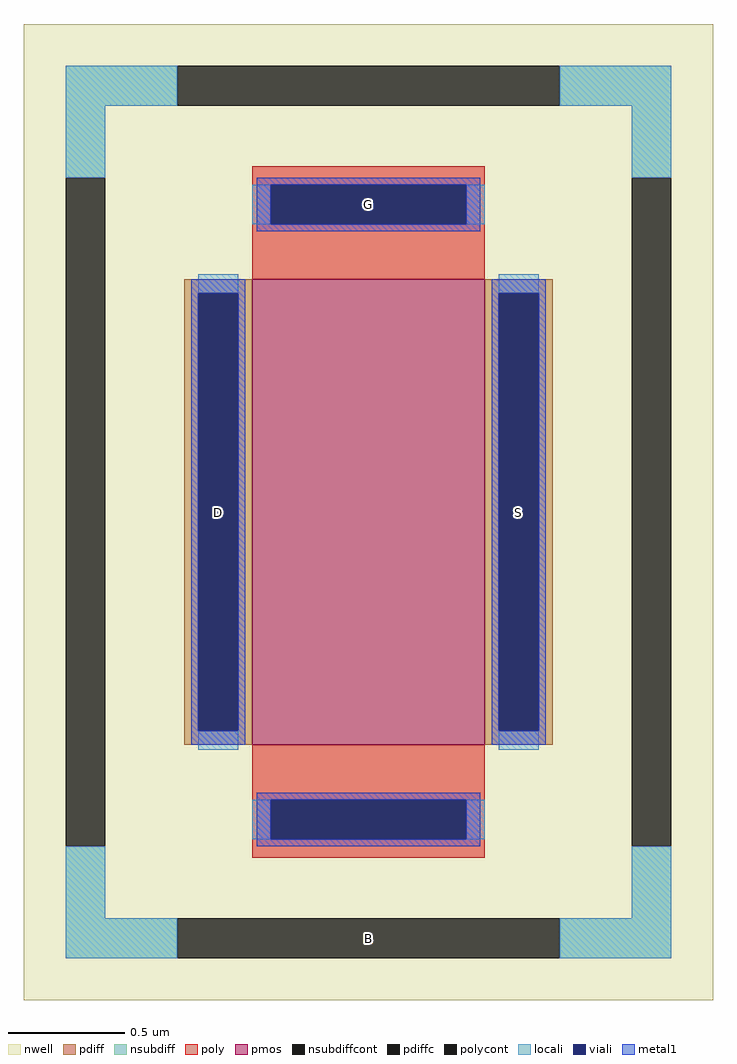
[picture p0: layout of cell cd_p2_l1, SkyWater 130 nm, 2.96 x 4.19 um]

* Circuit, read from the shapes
.subckt cd_p2_l1 B D S G
XM1 S G D B sky130_fd_pr__pfet_01v8 w=2 l=1
.ends

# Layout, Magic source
magic
tech sky130A
magscale 1 2
<< nwell >>
rect -296 -419 296 419
<< pmos >>
rect -100 -200 100 200
<< pdiff >>
rect -158 188 -100 200
rect -158 -188 -146 188
rect -112 -188 -100 188
rect -158 -200 -100 -188
rect 100 188 158 200
rect 100 -188 112 188
rect 146 -188 158 188
rect 100 -200 158 -188
<< pdiffc >>
rect -146 -188 -112 188
rect 112 -188 146 188
<< nsubdiff >>
rect -260 349 -164 383
rect 164 349 260 383
rect -260 287 -226 349
rect 226 287 260 349
rect -260 -349 -226 -287
rect 226 -349 260 -287
rect -260 -383 -164 -349
rect 164 -383 260 -349
<< nsubdiffcont >>
rect -164 349 164 383
rect -260 -287 -226 287
rect 226 -287 260 287
rect -164 -383 164 -349
<< poly >>
rect -100 281 100 297
rect -100 247 -84 281
rect 84 247 100 281
rect -100 200 100 247
rect -100 -247 100 -200
rect -100 -281 -84 -247
rect 84 -281 100 -247
rect -100 -297 100 -281
<< polycont >>
rect -84 247 84 281
rect -84 -281 84 -247
<< locali >>
rect -260 349 -164 383
rect 164 349 260 383
rect -260 287 -226 349
rect 226 287 260 349
rect -100 247 -84 281
rect 84 247 100 281
rect -146 188 -112 204
rect -146 -204 -112 -188
rect 112 188 146 204
rect 112 -204 146 -188
rect -100 -281 -84 -247
rect 84 -281 100 -247
rect -260 -349 -226 -287
rect 226 -349 260 -287
rect -260 -383 -164 -349
rect 164 -383 260 -349
<< viali >>
rect -84 247 84 281
rect -146 -188 -112 188
rect 112 -188 146 188
rect -84 -281 84 -247
<< metal1 >>
rect -96 281 96 287
rect -96 247 -84 281
rect 84 247 96 281
rect -96 241 96 247
rect -152 188 -106 200
rect -152 -188 -146 188
rect -112 -188 -106 188
rect -152 -200 -106 -188
rect 106 188 152 200
rect 106 -188 112 188
rect 146 -188 152 188
rect 106 -200 152 -188
rect -96 -247 96 -241
rect -96 -281 -84 -247
rect 84 -281 96 -247
rect -96 -287 96 -281
<< labels >>
rlabel nsubdiffcont 0 -366 0 -366 0 B
port 1 nsew
rlabel pdiffc -129 0 -129 0 0 D
port 2 nsew
rlabel pdiffc 129 0 129 0 0 S
port 3 nsew
rlabel polycont 0 264 0 264 0 G
port 4 nsew
<< properties >>
string FIXED_BBOX -243 -366 243 366
<< end >>
